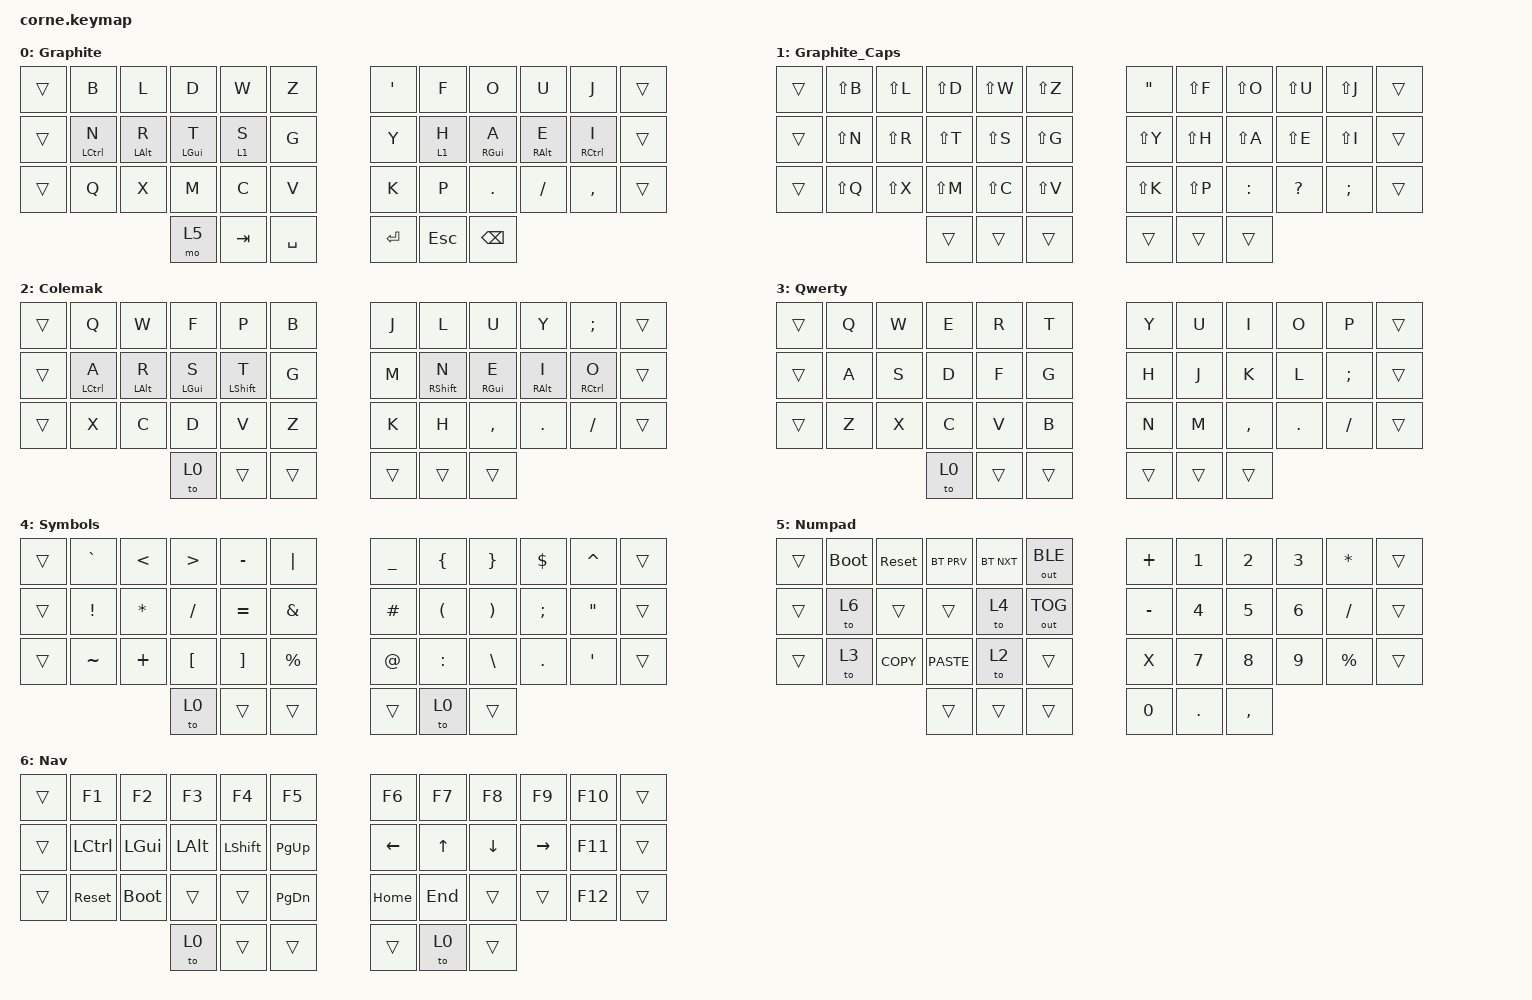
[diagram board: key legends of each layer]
#include <behaviors.dtsi>
#include <dt-bindings/zmk/bt.h>
#include <dt-bindings/zmk/keys.h>

/ {
  behaviors {
    mt: mod_tap {
      compatible = "zmk,behavior-hold-tap";
      #binding-cells = <2>;
      flavor = "tap-preferred";
      tapping-term-ms = <200>;
      bindings = <&kp>, <&kp>;
      display-name = "Mod-Tap";
    };
  };
};

/ {
  combos {
    compatible = "zmk,combos";
    combo_exclamation {
      timeout-ms = <50>;
      key-positions = <7 19>;
      bindings = <&kp EXCLAMATION>;
      layers = <0 1 2 3>;
    };
    combo_question {
      timeout-ms = <50>;
      key-positions = <8 20>;
      bindings = <&kp QUESTION>;
      layers = <0 1 2 3>;
    };
    combo_pound {
      timeout-ms = <50>;
      key-positions = <9 21>;
      bindings = <&kp POUND>;
      layers = <0 1 2 3>;
    };
  };
};

/ {
  keymap {
    compatible = "zmk,keymap";

    Graphite {
      bindings = <
        //  b l d w z  ' f o u j
        //  n r t s g  y h a e i
        //  q x m c v  k p . / ,
        //    nums repeat/tab space
        //    enter esc bksp
        &trans  &kp B  &kp L  &kp D  &kp W  &kp Z                                      &kp SQT  &kp F  &kp O  &kp U  &kp J  &trans
        &trans  &mt LEFT_CONTROL N  &mt LEFT_ALT R  &mt LEFT_GUI T  &lt 1 S  &kp G     &kp Y  &lt 1 H  &mt RIGHT_GUI A  &mt RIGHT_ALT E  &mt RIGHT_CONTROL I  &trans
        &trans  &kp Q  &kp X  &kp M  &kp C  &kp V                                      &kp K  &kp P  &kp PERIOD  &kp SLASH  &kp COMMA  &trans
        &mo 5  &kp TAB  &kp SPACE     &kp ENTER  &kp ESCAPE  &kp BACKSPACE
      >;
    };

    Graphite_Caps {
      bindings = <
        //  B L D W Z  " F O U J
        //  N R T S G  Y H A E I
        //  Q X M C V  K P : ? ;
        &trans  &kp LS(B)  &kp LS(L)  &kp LS(D)  &kp LS(W)  &kp LS(Z)    &kp DQT  &kp LS(F)  &kp LS(O)      &kp LS(U)      &kp LS(J)  &trans
        &trans  &kp LS(N)  &kp LS(R)  &kp LS(T)  &kp LS(S)  &kp LS(G)    &kp LS(Y)    &kp LS(H)  &kp LS(A)      &kp LS(E)      &kp LS(I)  &trans
        &trans  &kp LS(Q)  &kp LS(X)  &kp LS(M)  &kp LS(C)  &kp LS(V)    &kp LS(K)    &kp LS(P)  &kp COLON  &kp QMARK  &kp SEMI  &trans
        &trans     &trans     &trans       &trans       &trans     &trans
      >;
    };

    Colemak {
      bindings = <
        &trans  &kp Q  &kp W  &kp F  &kp P   &kp B     &kp J   &kp L   &kp U      &kp Y    &kp SEMI  &trans
        &trans  &mt LEFT_CONTROL A  &mt LEFT_ALT R  &mt LEFT_GUI S  &mt LEFT_SHIFT T   &kp G     &kp M   &mt RIGHT_SHIFT N   &mt RIGHT_GUI E     &mt RIGHT_ALT I   &mt RIGHT_CONTROL O  &trans
        &trans  &kp X  &kp C  &kp D  &kp V   &kp Z     &kp K   &kp H   &kp COMMA  &kp DOT  &kp FSLH  &trans
        &to 0  &trans  &trans    &trans  &trans  &trans
      >;
    };

    Qwerty {
      bindings = <
        &trans  &kp Q  &kp W  &kp E  &kp R   &kp T     &kp Y   &kp U   &kp I      &kp O    &kp P  &trans
        &trans  &kp A  &kp S  &kp D  &kp F   &kp G     &kp H   &kp J   &kp K      &kp L    &kp SEMI  &trans
        &trans  &kp Z  &kp X  &kp C  &kp V   &kp B     &kp N   &kp M   &kp COMMA  &kp DOT  &kp FSLH  &trans
        &to 0  &trans  &trans    &trans  &trans  &trans
      >;
    };

    Symbols {
      bindings = <
        &trans  &kp GRAVE      &kp LT    &kp GT  &kp MINUS  &kp PIPE     &kp UNDER  &kp LBRC   &kp RBRC  &kp DLLR  &kp CARET  &trans
        &trans  &kp EXCL   &kp STAR  &kp FSLH    &kp EQUAL  &kp AMPS     &kp HASH   &kp LPAR   &kp RPAR  &kp SEMI      &kp DQT  &trans
        &trans  &kp TILDE  &kp PLUS  &kp LBKT    &kp RBKT   &kp PRCNT    &kp AT     &kp COLON  &kp BSLH     &kp DOT       &kp SQT  &trans
        &to 0       &trans     &trans           &trans         &to 0         &trans
      >;
    };

    Numpad {
      bindings = <
        &trans  &bootloader  &sys_reset  &bt BT_PRV  &bt BT_NXT  &out OUT_BLE    &kp PLUS  &kp N1      &kp N2     &kp N3  &kp STAR  &trans
        &trans  &to 6        &trans      &trans      &to 4       &out OUT_TOG    &kp MINUS     &kp N4      &kp N5     &kp N6  &kp FSLH  &trans
        &trans  &to 3        &kp K_COPY      &kp K_PASTE     &to 2       &trans    &kp X         &kp N7      &kp N8     &kp N9  &kp PRCNT  &trans
        &trans      &trans      &trans    &kp N0        &kp PERIOD  &kp COMMA
      >;
    };

    Nav {
      bindings = <
        &trans  &kp F1      &kp F2       &kp F3    &kp F4     &kp F5           &kp F6    &kp F7   &kp F8    &kp F9     &kp F10  &trans
        &trans  &kp LCTRL   &kp LGUI     &kp LALT  &kp LSHFT  &kp PAGE_UP      &kp LEFT  &kp UP   &kp DOWN  &kp RIGHT  &kp F11  &trans
        &trans  &sys_reset  &bootloader  &trans    &trans     &kp PAGE_DOWN    &kp HOME  &kp END  &trans    &trans     &kp F12  &trans
        &to 0     &trans     &trans           &trans    &to 0   &trans
      >;
    };
  };
};
